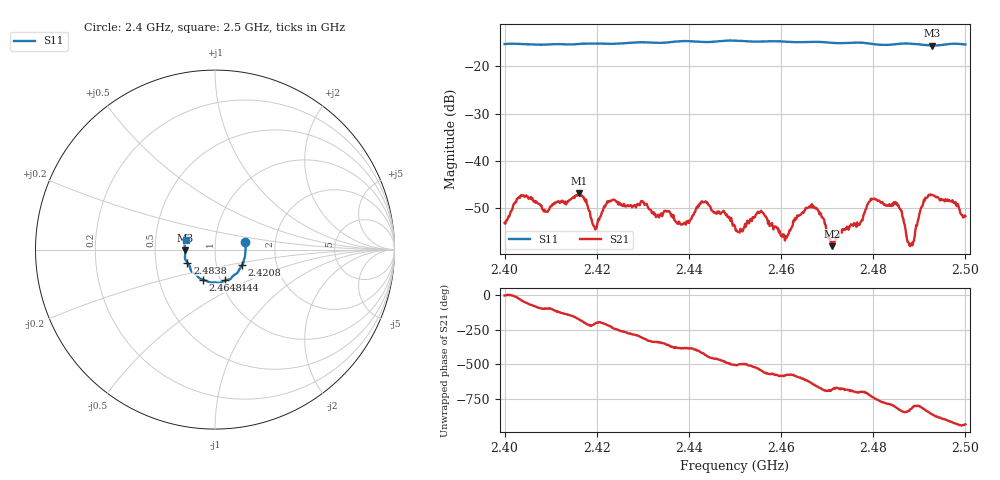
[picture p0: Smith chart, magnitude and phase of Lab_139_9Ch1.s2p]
# Hz S RI R 50
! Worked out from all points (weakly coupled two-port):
!   601 points, 2.4 GHz to 2.5 GHz, reference 50 ohm
!   highest |S21| = -46.81 dB at 2.4162 GHz (marker M1); lowest = -58.0 dB at 2.471 GHz (marker M2)
!   lowest |S11| = -15.6 dB at 2.4928 GHz (marker M3), VSWR 1.40, Z = 35.8 - j0.336 ohm
!   |S11| at or under -10 dB: start of sweep to end of sweep
!   S12 and S22 are empty: the file has one direction only
!   S11 on the Smith chart (normalised r, x): 2.4 GHz: 1.39, +0.12; 2.4208 GHz: 1.33, -0.24; 2.444 GHz: 1.06, -0.37; 2.4648 GHz: 0.83, -0.29; 2.4838 GHz: 0.73, -0.11; 2.5 GHz: 0.72, +0.08
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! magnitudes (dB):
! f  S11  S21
! 2.4 GHz  -15.3  -53.1
! 2.4037 GHz  -15.3  -47.2
! 2.409 GHz  -15.4  -50.7
! 2.4162 GHz  -15.3  -46.8
! 2.4167 GHz  -15.2  -47.2
! 2.4195 GHz  -15.2  -53.9
! 2.4208 GHz  -15.2  -51.7
! 2.4235 GHz  -15.2  -48.2
! 2.4333 GHz  -15.0  -51.4
! 2.444 GHz  -14.9  -48.8
! 2.45 GHz  -14.5  -53.8
! 2.4555 GHz  -14.8  -50.8
! 2.461 GHz  -14.8  -55.9
! 2.4648 GHz  -14.9  -51.0
! 2.4667 GHz  -14.8  -49.1
! 2.471 GHz  -15.0  -58.0
! 2.4795 GHz  -15.2  -48.0
! 2.4833 GHz  -15.4  -49.4
! 2.4838 GHz  -15.4  -49.3
! 2.4882 GHz  -15.2  -57.6
! 2.4928 GHz  -15.6  -47.2
! 2.5 GHz  -15.4  -51.7
